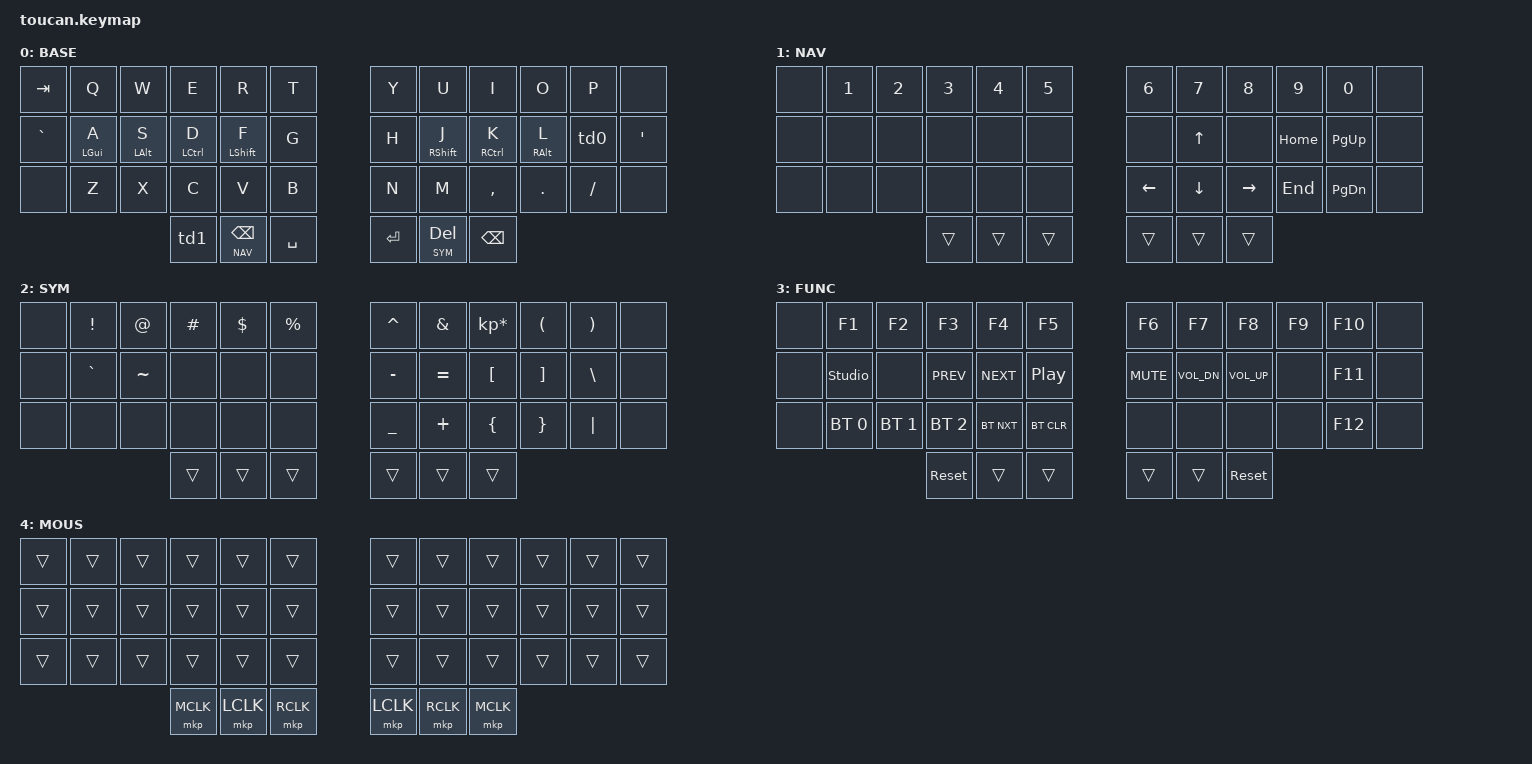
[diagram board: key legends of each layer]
#include <behaviors.dtsi>
#include <dt-bindings/zmk/keys.h>
#include <dt-bindings/zmk/bt.h>
#include <dt-bindings/zmk/outputs.h>
#include <dt-bindings/zmk/pointing.h>

#define BASE 0
#define NAV  1
#define SYM  2
#define FUNC 3

// For Mac OS:
//    GUI   // Command
//    ALT   // Option (Alt)
//    CTRL  // Control
//    SHIFT // Shift

/ {

    behaviors {
        hm: homerow_mods {
            compatible = "zmk,behavior-hold-tap";
            label = "HOMEROW_MODS";
            #binding-cells = <2>;
            tapping-term-ms = <200>;
            quick-tap-ms = <0>;
            flavor = "tap-preferred";
            bindings =
                <&kp>,
                <&kp>;
        };

        td0: tap_dance_0 {
            compatible = "zmk,behavior-tap-dance";
            label = "TAP_DANCE_0";
            #binding-cells = <0>;
            tapping-term-ms = <200>;
            bindings = <&hm RGUI SEMI>, <&kp SQT>; //double tap gives a single quote
        };

        td1: tap_dance_1 {
            compatible = "zmk,behavior-tap-dance";
            label = "TAP_DANCE_1";
            #binding-cells = <0>;
            tapping-term-ms = <200>;
            bindings = <&mt LGUI TAB>, <&kp ESC>; // Allows cut,copy, paste and undo with just the left hand. Change to LCTRL for windows.
        };

    };

    conditional_layers {
        compatible = "zmk,conditional-layers";
        tri_layer {
            if-layers = <1 2>;
            then-layer = <3>;
        };
    };

    combos {
        compatible = "zmk,combos";
        // holding down both shift keys to toggle CAPS LOCK
        combo_cword {
            timeout-ms = <50>;
            key-positions = <16 19>; 
            bindings = <&caps_word>;
        };
    };

    keymap {
        compatible = "zmk,keymap";

        base {
            display-name = "BASE";
            bindings = <
   //             &kp TAB   &kp Q &kp W &kp E &kp R &kp T   &kp Y &kp U  &kp I     &kp O   &kp P    &kp BSPC
   //             &kp LCTRL &kp A &kp S &kp D &kp F &kp G   &kp H &kp J  &kp K     &kp L   &kp SEMI &kp SQT
   //             &kp LSHFT &kp Z &kp X &kp C &kp V &kp B   &kp N &kp M  &kp COMMA &kp DOT &kp FSLH &kp ESC
   //                             &kp LGUI &mo NAV &kp SPACE   &kp RET &mo SYM &kp RALT
            
           
                &kp TAB    &kp Q       &kp W       &kp E        &kp R        &kp T        &kp Y     &kp U        &kp I        &kp O      &kp P     &none
                &kp GRAVE  &hm LGUI A  &hm LALT S  &hm LCTRL D  &hm LSHIFT F &kp G        &kp H     &hm RSHIFT J &hm RCTRL K  &hm RALT L &td0      &kp SQT
                &none      &kp Z       &kp X       &kp C        &kp V        &kp B        &kp N     &kp M        &kp COMMA    &kp DOT    &kp FSLH  &none
                                                   &td1         &lt NAV BSPC &kp SPACE    &kp ENTER &lt SYM DEL  &kp BSPC
            >;
        };

        nav {
            display-name = "NAV";
            bindings = <
   //             &kp TAB     &kp N1          &kp N2       &kp N3       &kp N4       &kp N5         &kp N6   &kp N7   &kp N8 &kp N9    &kp N0 &kp BSPC
   //             &bt BT_CLR  &bt BT_SEL 0    &bt BT_SEL 1 &bt BT_SEL 2 &bt BT_SEL 3 &bt BT_SEL 4   &kp LEFT &kp DOWN &kp UP &kp RIGHT &trans &trans
   //             &kp LSHFT   &studio_unlock  &trans       &trans       &trans       &trans         &trans   &trans   &trans &trans    &trans &trans
   //                                             &kp LGUI     &trans       &kp SPACE      &kp RET  &trans   &kp RALT
     
   // TODO do I need &mo FUNC for the middle thumb button on right side? Or does &trans work, because of the conditional layers above? 
                &none    &kp N1  &kp N2  &kp N3  &kp N4  &kp N5      &kp N6          &kp N7           &kp N8    &kp N9         &kp N0  &none
                &none    &none   &none   &none   &none   &none             &none    &kp UP            &none  &kp HOME      &kp PG_UP  &none
                &none    &none   &none   &none   &none   &none    &kp LEFT_ARROW  &kp DOWN  &kp RIGHT_ARROW   &kp END  &kp PAGE_DOWN  &none
                       &trans  &trans  &trans            &trans  &trans &trans
            >;
        };

        sym {
            display-name = "SYM";
            bindings = <
            //    &kp TAB   &kp EXCL &kp AT &kp HASH &kp DLLR &kp PRCNT   &kp CARET &kp AMPS  &kp KP_MULTIPLY &kp LPAR &kp RPAR &kp BSPC
            //   &kp LCTRL &trans   &trans &trans   &trans   &trans      &kp MINUS &kp EQUAL &kp LBKT        &kp RBKT &kp BSLH &kp GRAVE
            //    &kp LSHFT &trans   &trans &trans   &trans   &trans      &kp UNDER &kp PLUS  &kp LBRC        &kp RBRC &kp PIPE &kp TILDE
            //                             &kp LGUI &trans   &kp SPACE   &kp RET   &trans    &kp RALT

            // TODO do I need &mo FUNC for the middle thumb button on left side? Or does &trans work, because of the conditional layers above? 
                &none  &kp EXCL     &kp AT  &kp HASH  &kp DLLR  &kp PRCNT    &kp CARET   &kp AMPS  &kp KP_MULTIPLY  &kp LPAR  &kp RPAR  &none
                &none  &kp GRAVE  &kp TILDE     &none     &none      &none    &kp MINUS  &kp EQUAL         &kp LBKT  &kp RBKT  &kp BSLH  &none
                &none      &none      &none     &none     &none      &none    &kp UNDER   &kp PLUS         &kp LBRC  &kp RBRC  &kp PIPE  &none
                               &trans  &trans     &trans       &trans     &trans           &trans
            >;
        };

        fun {
            display-name = "FUNC";
            bindings = <
            //    &mo TAB   &trans &kp F7 &kp F8 &kp F9 &kp F12   &kp C_VOL_DN &kp C_MUTE  &kp C_VOL_UP &trans &trans &kp BSPC
            //    &kp LCTRL &trans &kp F4 &kp F5 &kp F6 &kp F11   &trans       &trans      &trans       &trans &trans &trans
            //   &bt LSHFT &trans &kp F1 &kp F2 &kp F3 &kp F10   &trans       &trans      &trans       &trans &trans &trans
            //                       &kp LGUI &mo NAV &kp SPACE   &kp RET &mo SYM &kp RALT
                &none  &kp F1            &kp F2        &kp F3      &kp F4            &kp F5        &kp F6        &kp F7        &kp F8  &kp F9  &kp F10  &none
                &none  &studio_unlock    &none    &kp C_PREV  &kp C_NEXT  &kp C_PLAY_PAUSE    &kp C_MUTE  &kp C_VOL_DN  &kp C_VOL_UP   &none  &kp F11  &none
                &none  &bt BT_SEL 0      &bt BT_SEL 1  &bt BT_SEL 2  &bt BT_NXT        &bt BT_CLR         &none         &none         &none   &none  &kp F12  &none
                                         &sys_reset      &trans            &trans        &trans        &trans    &sys_reset
            >;
        };

        mouse {
            display-name = "MOUS";
            bindings = <
                &trans &trans &trans &trans &trans &trans           &trans &trans &trans &trans &trans &trans
                &trans &trans &trans &trans &trans &trans           &trans &trans &trans &trans &trans &trans
                &trans &trans &trans &trans &trans &trans           &trans &trans &trans &trans &trans &trans
                            &mkp MCLK &mkp LCLK &mkp RCLK           &mkp LCLK &mkp RCLK &mkp MCLK
            >;
        };

        extra_2 {
                status = "reserved";
        };

        extra_3 {
                status = "reserved";
        };
    };
};
